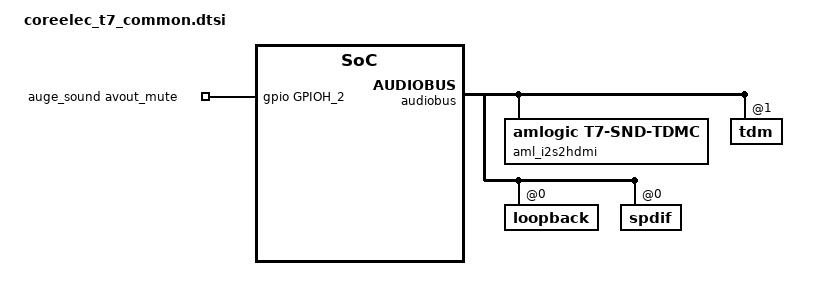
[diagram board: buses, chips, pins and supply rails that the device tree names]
#include "coreelec_common.dtsi"

/ {
	amhdmitx: amhdmitx{
		vend_data: vend_data{ /* Should modified by Customer */
			product_desc = "T7"; /* Max Chars: 16 */
		};
	};

	reserved-memory {
		codec_mm_cma:linux,codec_mm_cma {
			size = <0x0 0x2fc00000>;
			alloc-ranges = <0x0 0x0 0x0 0xe0000000>;
		};

		di_cma_reserved:linux,di_cma {
			alloc-ranges = <0x0 0x0 0x0 0xe0000000>;
		};

		ppmgr_reserved:linux,ppmgr {
			alloc-ranges = <0x0 0x0 0x0 0xe0000000>;
		};

		isp_cma_reserved:linux,isp_cma {
			alloc-ranges = <0x0 0x0 0x0 0xe0000000>;
		};

		adapt_cma_reserved:linux,adapt_cma {
			alloc-ranges = <0x0 0x0 0x0 0xe0000000>;
		};

		ion_cma_reserved:linux,ion-dev {
			alloc-ranges = <0x0 0x0 0x0 0xe0000000>;
		};

		ion_secure_reserved:linux,ion-secure {
			alloc-ranges = <0x0 0x0 0x0 0xe0000000>;
		};

		ion_fb_reserved:linux,ion-fb {
			alloc-ranges = <0x0 0x0 0x0 0xe0000000>;
		};

		codec_mm_reserved:linux,codec_mm_reserved {
			alloc-ranges = <0x0 0x0 0x0 0xe0000000>;
		};

		vdin1_cma_reserved:linux,vdin1_cma {
			alloc-ranges = <0x0 0x0 0x0 0xe0000000>;
		};
	};

	/delete-node/ hdmirx;
	/delete-node/ smartcard;
	/delete-node/ dvb-extern;
	/delete-node/ dvb-demux;
	/delete-node/ lcd;
	/delete-node/ backlight;
	/delete-node/ local_dimming_device;
	/delete-node/ lcd1;
	/delete-node/ backlight1;
	/delete-node/ lcd2;

	/delete-node/ auge_sound;
	auge_sound {
		compatible = "amlogic, auge-sound-card";
		aml-audio-card,name = "AML-AUGESOUND";

		/*avout mute gpio*/
		avout_mute-gpios = <&gpio GPIOH_2 GPIO_ACTIVE_HIGH>;

		aml-audio-card,dai-link@0 {
			mclk-fs = <128>;
			cpu {
				system-clock-frequency = <6144000>;
				sound-dai = <&spdifb>;
			};
			codec {
				sound-dai = <&spdifb>;
			};
		};

		aml-audio-card,dai-link@1 {
			format = "i2s";
			mclk-fs = <256>;
			bitclock-master = <&tdmb>;
			frame-master = <&tdmb>;
			cpu {
				dai-tdm-slot-tx-mask = <1 1>;
				dai-tdm-slot-rx-mask = <1 1>;
				dai-tdm-slot-num = <2>;
				dai-tdm-slot-width = <32>;
				system-clock-frequency = <12288000>;
				sound-dai = <&tdmb>;
			};
			codec {
				sound-dai = <&acodec>;
			};
		};

		aml-audio-card,dai-link@2 {
			mclk-fs = <128>;
			cpu {
				system-clock-frequency = <6144000>;
				sound-dai = <&spdifa>;
			};
			codec {
				sound-dai = <&spdifa>;
			};
		};

		aml-audio-card,dai-link@3 {
			format = "i2s";
			mclk-fs = <256>;
			bitclock-master = <&aml_i2s2hdmi>;
			frame-master = <&aml_i2s2hdmi>;
			cpu {
				sound-dai = <&aml_i2s2hdmi>;
				dai-tdm-slot-tx-mask = <1 1>;
				dai-tdm-slot-rx-mask = <1 1>;
				dai-tdm-slot-num = <2>;
				dai-tdm-slot-width = <32>;
				system-clock-frequency = <12288000>;
			};
			codec {
				sound-dai = <&dummy_codec>;
			};
		};
	};
};

&vdin0 {
	status = "disabled";
};

&vdin1 {
	status = "disabled";
};

&audiobus {
	aml_i2s2hdmi: i2s2hdmi {
		compatible = "amlogic, t7-snd-tdmc";
	};
	tdm@1 {
		/delete-property/ tdmin-src-name;
		/delete-property/ ctrl_gain;
		/delete-node/ Channel_Mask;
	};
	resample@0 {
		status = "disabled";
	};
	/delete-node/ resample@1;
	loopback@0 {
		datain_chnum = <0>;
		datain_chmask = <0x0>;
		/* config which data pin for loopback */
		datain-lane-mask-in = <0 0 0 0>;
	};
	spdif@0 {
		/delete-property/ samesource_sel;
	};
};

&crg21_otg {
	controller-type = <1>;
};

&nna_tsensor {
	status = "disabled";
};

&ethmac {
	internal_phy = <2>;
	cali_val = <0x80000>;
};
